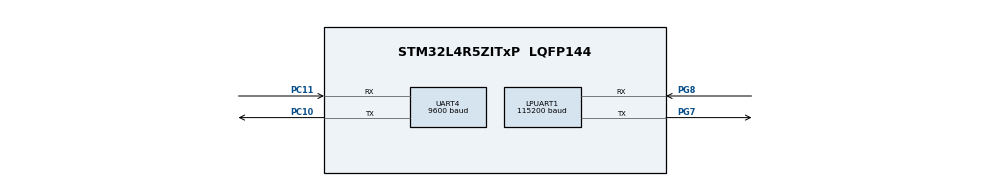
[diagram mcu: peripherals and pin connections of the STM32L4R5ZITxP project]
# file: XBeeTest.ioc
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LPUART1.BaudRate=115200
LPUART1.WordLength=UART_WORDLENGTH_8B
Mcu.Family=STM32L4
Mcu.Name=STM32L4R5ZITxP
Mcu.Package=LQFP144
NVIC.PriorityGroup=NVIC_PRIORITYGROUP_4
NVIC.UART4_IRQn=true\:0\:0\:false\:false\:true\:true\:true\:true
PA0.Signal=S_TIM2_CH1
PA1.Signal=ADCx_IN6
PA10.Signal=USB_OTG_FS_ID
PA13\ (JTMS/SWDIO).Signal=SYS_JTMS-SWDIO
PA14\ (JTCK/SWCLK).Signal=SYS_JTCK-SWCLK
PA3.Signal=ADCx_IN8
PA4.Signal=SPI1_NSS
PA5.Signal=SPI1_SCK
PA6.Signal=SPI1_MISO
PA7.Signal=SPI1_MOSI
PA8.Signal=USB_OTG_FS_SOF
PA9.Signal=USB_OTG_FS_VBUS
PB0.Signal=S_TIM3_CH3
PB1.Signal=ADCx_IN16
PB10.Signal=S_TIM2_CH3
PB12.Signal=SAI2_FS_A
PB13.Signal=SAI2_SCK_A
PB14.Signal=S_TIM15_CH1
PB15.Signal=SAI2_SD_A
PB2.Signal=COMP1_INP
PB3\ (JTDO/TRACESWO).Signal=SPI3_SCK
PB4\ (NJTRST).Signal=SPI3_MISO
PB5.Signal=SPI3_MOSI
PB6.Signal=COMP2_INP
PB8.Signal=I2C1_SCL
PB9.Signal=I2C1_SDA
PC0.Signal=ADCx_IN1
PC1.Signal=ADCx_IN2
PC10.Mode=Asynchronous
PC10.Signal=UART4_TX
PC11.Mode=Asynchronous
PC11.Signal=UART4_RX
PC12.Signal=SDMMC1_CK
PC13.Signal=SYS_WKUP2
PC14-OSC32_IN\ (PC14).Signal=RCC_OSC32_IN
PC15-OSC32_OUT\ (PC15).Signal=RCC_OSC32_OUT
PC2.Signal=ADCx_IN3
PC3.Signal=ADCx_IN4
PC4.Signal=ADCx_IN13
PC5.Signal=ADCx_IN14
PC6.Signal=SAI2_MCLK_A
PC7.Signal=S_TIM3_CH2
PC8.Signal=SDMMC1_D0
PC9.Signal=SDMMC1_D1
PD0.Signal=CAN1_RX
PD14.Signal=S_TIM4_CH3
PD15.Signal=S_TIM4_CH4
PD2.Signal=SDMMC1_CMD
PD3.Signal=USART2_CTS
PD4.Signal=USART2_RTS
PD5.Signal=USART2_TX
PD6.Signal=USART2_RX
PD8.Signal=USART3_TX
PD9.Signal=USART3_RX
PE0.Signal=S_TIM4_ETR
PE10.Signal=TIM1_CH2N
PE11.Signal=S_TIM1_CH2
PE12.Signal=TIM1_CH3N
PE13.Signal=S_TIM1_CH3
PE14.Signal=TIM1_BKIN2
PE15.Signal=TIM1_BKIN
PE2.Signal=SAI1_MCLK_A
PE3.Signal=SAI1_SD_B
PE7.Signal=S_TIM1_ETR
PE8.Signal=TIM1_CH1N
PE9.Signal=S_TIM1_CH1
PF0.Signal=I2C2_SDA
PF1.Signal=I2C2_SCL
PF2.Signal=I2C2_SMBA
PF7.Signal=SAI1_MCLK_B
PG7.Mode=Asynchronous
PG7.Signal=LPUART1_TX
PG8.Mode=Asynchronous
PG8.Signal=LPUART1_RX
PH0-OSC_IN\ (PH0).Signal=RCC_OSC_IN
PH1-OSC_OUT\ (PH1).Signal=RCC_OSC_OUT
ProjectManager.HeapSize=0x200
ProjectManager.StackSize=0x400
ProjectManager.TargetToolchain=STM32CubeIDE
RCC.HSE_VALUE=8000000
RCC.HSI48_VALUE=48000000
RCC.HSI_VALUE=16000000
RCC.LSE_VALUE=32768
RCC.MSI_VALUE=4000000
RCC.VCOOutputFreq_Value=32000000
SH.ADCx_IN1.0=ADC1_IN1
SH.ADCx_IN13.0=ADC1_IN13
SH.ADCx_IN14.0=ADC1_IN14
SH.ADCx_IN16.0=ADC1_IN16
SH.ADCx_IN2.0=ADC1_IN2
SH.ADCx_IN3.0=ADC1_IN3
SH.ADCx_IN4.0=ADC1_IN4
SH.ADCx_IN6.0=ADC1_IN6
SH.ADCx_IN8.0=ADC1_IN8
SH.S_TIM15_CH1.0=TIM15_CH1
SH.S_TIM1_CH1.0=TIM1_CH1
SH.S_TIM1_CH2.0=TIM1_CH2
SH.S_TIM1_CH3.0=TIM1_CH3
SH.S_TIM1_ETR.0=TIM1_ETR
SH.S_TIM2_CH1.0=TIM2_CH1
SH.S_TIM2_CH3.0=TIM2_CH3
SH.S_TIM3_CH2.0=TIM3_CH2
SH.S_TIM3_CH3.0=TIM3_CH3
SH.S_TIM4_CH3.0=TIM4_CH3
SH.S_TIM4_CH4.0=TIM4_CH4
SH.S_TIM4_ETR.0=TIM4_ETR
UART4.BaudRate=9600
board=NUCLEO-L4R5ZI-P

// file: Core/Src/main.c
/* USER CODE BEGIN Header */
/**
  ******************************************************************************
  * @file           : main.c
  * @brief          : Main program body
  ******************************************************************************
  * @attention
  *
  * Copyright (c) 2023 STMicroelectronics.
  * All rights reserved.
  *
  * This software is licensed under terms that can be found in the LICENSE file
  * in the root directory of this software component.
  * If no LICENSE file comes with this software, it is provided AS-IS.
  *
  ******************************************************************************
  */
/* USER CODE END Header */
#include "main.h"

/* USER CODE BEGIN Includes */
#include "stdio.h"
#include "TADAMHESPEVDataTemplate.h"
/* USER CODE END Includes */

UART_HandleTypeDef hlpuart1;
UART_HandleTypeDef huart4;

void SystemClock_Config(void);
static void MX_GPIO_Init(void);
static void MX_UART4_Init(void);
static void MX_LPUART1_UART_Init(void);

/* USER CODE BEGIN 0 */
uint8_t Rx_data[15];
//int index = 0;
/* USER CODE END 0 */

int main(void)
{

  /* MCU Configuration--------------------------------------------------------*/

  /* Reset of all peripherals, Initializes the Flash interface and the Systick. */
  HAL_Init();

  /* Configure the system clock */
  SystemClock_Config();

  /* Initialize all configured peripherals */
  MX_GPIO_Init();
  MX_UART4_Init();
  MX_LPUART1_UART_Init();
  /* USER CODE BEGIN 2 */
  printf("setting up recieve\n");
  HAL_UART_Receive_IT(&huart4, Rx_data, 4);
  //HAL_UART_Receive_IT(&huart4, Rx_data+(index++ % 15), 1);
  int index = 0;
  /* USER CODE END 2 */

  /* Infinite loop */
  /* USER CODE BEGIN WHILE */
  while (1)
  {
//	  uint8_t Test[] = "Hello World !!!\r\n"; //Data to send
//	  //printf("sending message\n");
//	  HAL_UART_Transmit(&huart4,Test,sizeof(Test),10);// Sending in normal mode
//	  /*HAL_UART_Receive(&huart4, Rx_data, sizeof(Rx_data), 10);*/
//	  printf("data buffer: ");
//	  for(int i = 0; i < 15; ++i){
//	    			printf("%d ", Rx_data[i]);
//	    			//Rx_data[i] = 0; //reset for debug
//	    		}
//	   printf("\n");
	  float buff[3][5] = {
	  	  			{ 2.5, 52.7897, 6.12314, 46.352542, 6.0 }, //no warning
				{ 1, 65.7897, 43.7897, 45.1232, 5 }, //BOTH
				{ 2.5, 43.7897, 6.12314, 51.241, 6.0 } //temp warning
		};
		//HAL_Delay();
		//HAL_UART_Transmit(&huart4, (uint8_t*) &(buff[++index%3]), 20, 100);
	  HAL_UART_Transmit(&huart4, (uint8_t*) &(buff[0]), 20, 100);

	  HAL_Delay(1000);
    /* USER CODE END WHILE */

  }
}

void SystemClock_Config(void)
{
  RCC_OscInitTypeDef RCC_OscInitStruct = {0};
  RCC_ClkInitTypeDef RCC_ClkInitStruct = {0};

  /** Configure the main internal regulator output voltage
  */
  if (HAL_PWREx_ControlVoltageScaling(PWR_REGULATOR_VOLTAGE_SCALE1) != HAL_OK)
  {
    Error_Handler();
  }

  /** Initializes the RCC Oscillators according to the specified parameters
  * in the RCC_OscInitTypeDef structure.
  */
  RCC_OscInitStruct.OscillatorType = RCC_OSCILLATORTYPE_MSI;
  RCC_OscInitStruct.MSIState = RCC_MSI_ON;
  RCC_OscInitStruct.MSICalibrationValue = 0;
  RCC_OscInitStruct.MSIClockRange = RCC_MSIRANGE_6;
  RCC_OscInitStruct.PLL.PLLState = RCC_PLL_NONE;
  if (HAL_RCC_OscConfig(&RCC_OscInitStruct) != HAL_OK)
  {
    Error_Handler();
  }

  /** Initializes the CPU, AHB and APB buses clocks
  */
  RCC_ClkInitStruct.ClockType = RCC_CLOCKTYPE_HCLK|RCC_CLOCKTYPE_SYSCLK
                              |RCC_CLOCKTYPE_PCLK1|RCC_CLOCKTYPE_PCLK2;
  RCC_ClkInitStruct.SYSCLKSource = RCC_SYSCLKSOURCE_MSI;
  RCC_ClkInitStruct.AHBCLKDivider = RCC_SYSCLK_DIV1;
  RCC_ClkInitStruct.APB1CLKDivider = RCC_HCLK_DIV1;
  RCC_ClkInitStruct.APB2CLKDivider = RCC_HCLK_DIV1;

  if (HAL_RCC_ClockConfig(&RCC_ClkInitStruct, FLASH_LATENCY_0) != HAL_OK)
  {
    Error_Handler();
  }
}

static void MX_LPUART1_UART_Init(void)
{

  hlpuart1.Instance = LPUART1;
  hlpuart1.Init.BaudRate = 115200;
  hlpuart1.Init.WordLength = UART_WORDLENGTH_8B;
  hlpuart1.Init.StopBits = UART_STOPBITS_1;
  hlpuart1.Init.Parity = UART_PARITY_NONE;
  hlpuart1.Init.Mode = UART_MODE_TX_RX;
  hlpuart1.Init.HwFlowCtl = UART_HWCONTROL_NONE;
  hlpuart1.Init.OneBitSampling = UART_ONE_BIT_SAMPLE_DISABLE;
  hlpuart1.Init.ClockPrescaler = UART_PRESCALER_DIV1;
  hlpuart1.AdvancedInit.AdvFeatureInit = UART_ADVFEATURE_NO_INIT;
  hlpuart1.FifoMode = UART_FIFOMODE_DISABLE;
  if (HAL_UART_Init(&hlpuart1) != HAL_OK)
  {
    Error_Handler();
  }
  if (HAL_UARTEx_SetTxFifoThreshold(&hlpuart1, UART_TXFIFO_THRESHOLD_1_8) != HAL_OK)
  {
    Error_Handler();
  }
  if (HAL_UARTEx_SetRxFifoThreshold(&hlpuart1, UART_RXFIFO_THRESHOLD_1_8) != HAL_OK)
  {
    Error_Handler();
  }
  if (HAL_UARTEx_DisableFifoMode(&hlpuart1) != HAL_OK)
  {
    Error_Handler();
  }

}

static void MX_UART4_Init(void)
{

  huart4.Instance = UART4;
  huart4.Init.BaudRate = 9600;
  huart4.Init.WordLength = UART_WORDLENGTH_8B;
  huart4.Init.StopBits = UART_STOPBITS_1;
  huart4.Init.Parity = UART_PARITY_NONE;
  huart4.Init.Mode = UART_MODE_TX_RX;
  huart4.Init.HwFlowCtl = UART_HWCONTROL_NONE;
  huart4.Init.OverSampling = UART_OVERSAMPLING_16;
  huart4.Init.OneBitSampling = UART_ONE_BIT_SAMPLE_DISABLE;
  huart4.Init.ClockPrescaler = UART_PRESCALER_DIV1;
  huart4.AdvancedInit.AdvFeatureInit = UART_ADVFEATURE_NO_INIT;
  if (HAL_UART_Init(&huart4) != HAL_OK)
  {
    Error_Handler();
  }
  if (HAL_UARTEx_SetTxFifoThreshold(&huart4, UART_TXFIFO_THRESHOLD_1_8) != HAL_OK)
  {
    Error_Handler();
  }
  if (HAL_UARTEx_SetRxFifoThreshold(&huart4, UART_RXFIFO_THRESHOLD_1_8) != HAL_OK)
  {
    Error_Handler();
  }
  if (HAL_UARTEx_DisableFifoMode(&huart4) != HAL_OK)
  {
    Error_Handler();
  }

}

static void MX_GPIO_Init(void)
{
  GPIO_InitTypeDef GPIO_InitStruct = {0};

  /* GPIO Ports Clock Enable */
  __HAL_RCC_GPIOE_CLK_ENABLE();
  __HAL_RCC_GPIOC_CLK_ENABLE();
  __HAL_RCC_GPIOF_CLK_ENABLE();
  __HAL_RCC_GPIOH_CLK_ENABLE();
  __HAL_RCC_GPIOA_CLK_ENABLE();
  __HAL_RCC_GPIOB_CLK_ENABLE();
  __HAL_RCC_GPIOD_CLK_ENABLE();
  __HAL_RCC_GPIOG_CLK_ENABLE();
  HAL_PWREx_EnableVddIO2();

  /*Configure GPIO pins : PE2 PE3 */
  GPIO_InitStruct.Pin = GPIO_PIN_2|GPIO_PIN_3;
  GPIO_InitStruct.Mode = GPIO_MODE_AF_PP;
  GPIO_InitStruct.Pull = GPIO_NOPULL;
  GPIO_InitStruct.Speed = GPIO_SPEED_FREQ_LOW;
  GPIO_InitStruct.Alternate = GPIO_AF13_SAI1;
  HAL_GPIO_Init(GPIOE, &GPIO_InitStruct);

  /*Configure GPIO pins : PF0 PF1 PF2 */
  GPIO_InitStruct.Pin = GPIO_PIN_0|GPIO_PIN_1|GPIO_PIN_2;
  GPIO_InitStruct.Mode = GPIO_MODE_AF_OD;
  GPIO_InitStruct.Pull = GPIO_NOPULL;
  GPIO_InitStruct.Speed = GPIO_SPEED_FREQ_VERY_HIGH;
  GPIO_InitStruct.Alternate = GPIO_AF4_I2C2;
  HAL_GPIO_Init(GPIOF, &GPIO_InitStruct);

  /*Configure GPIO pin : PF7 */
  GPIO_InitStruct.Pin = GPIO_PIN_7;
  GPIO_InitStruct.Mode = GPIO_MODE_AF_PP;
  GPIO_InitStruct.Pull = GPIO_NOPULL;
  GPIO_InitStruct.Speed = GPIO_SPEED_FREQ_LOW;
  GPIO_InitStruct.Alternate = GPIO_AF13_SAI1;
  HAL_GPIO_Init(GPIOF, &GPIO_InitStruct);

  /*Configure GPIO pins : PC0 PC1 PC2 PC3
                           PC4 PC5 */
  GPIO_InitStruct.Pin = GPIO_PIN_0|GPIO_PIN_1|GPIO_PIN_2|GPIO_PIN_3
                          |GPIO_PIN_4|GPIO_PIN_5;
  GPIO_InitStruct.Mode = GPIO_MODE_ANALOG_ADC_CONTROL;
  GPIO_InitStruct.Pull = GPIO_NOPULL;
  HAL_GPIO_Init(GPIOC, &GPIO_InitStruct);

  /*Configure GPIO pin : PA0 */
  GPIO_InitStruct.Pin = GPIO_PIN_0;
  GPIO_InitStruct.Mode = GPIO_MODE_AF_PP;
  GPIO_InitStruct.Pull = GPIO_NOPULL;
  GPIO_InitStruct.Speed = GPIO_SPEED_FREQ_LOW;
  GPIO_InitStruct.Alternate = GPIO_AF1_TIM2;
  HAL_GPIO_Init(GPIOA, &GPIO_InitStruct);

  /*Configure GPIO pins : PA1 PA3 */
  GPIO_InitStruct.Pin = GPIO_PIN_1|GPIO_PIN_3;
  GPIO_InitStruct.Mode = GPIO_MODE_ANALOG_ADC_CONTROL;
  GPIO_InitStruct.Pull = GPIO_NOPULL;
  HAL_GPIO_Init(GPIOA, &GPIO_InitStruct);

  /*Configure GPIO pins : PA4 PA5 PA6 PA7 */
  GPIO_InitStruct.Pin = GPIO_PIN_4|GPIO_PIN_5|GPIO_PIN_6|GPIO_PIN_7;
  GPIO_InitStruct.Mode = GPIO_MODE_AF_PP;
  GPIO_InitStruct.Pull = GPIO_NOPULL;
  GPIO_InitStruct.Speed = GPIO_SPEED_FREQ_VERY_HIGH;
  GPIO_InitStruct.Alternate = GPIO_AF5_SPI1;
  HAL_GPIO_Init(GPIOA, &GPIO_InitStruct);

  /*Configure GPIO pin : PB0 */
  GPIO_InitStruct.Pin = GPIO_PIN_0;
  GPIO_InitStruct.Mode = GPIO_MODE_AF_PP;
  GPIO_InitStruct.Pull = GPIO_NOPULL;
  GPIO_InitStruct.Speed = GPIO_SPEED_FREQ_LOW;
  GPIO_InitStruct.Alternate = GPIO_AF2_TIM3;
  HAL_GPIO_Init(GPIOB, &GPIO_InitStruct);

  /*Configure GPIO pin : PB1 */
  GPIO_InitStruct.Pin = GPIO_PIN_1;
  GPIO_InitStruct.Mode = GPIO_MODE_ANALOG_ADC_CONTROL;
  GPIO_InitStruct.Pull = GPIO_NOPULL;
  HAL_GPIO_Init(GPIOB, &GPIO_InitStruct);

  /*Configure GPIO pins : PB2 PB6 */
  GPIO_InitStruct.Pin = GPIO_PIN_2|GPIO_PIN_6;
  GPIO_InitStruct.Mode = GPIO_MODE_ANALOG;
  GPIO_InitStruct.Pull = GPIO_NOPULL;
  HAL_GPIO_Init(GPIOB, &GPIO_InitStruct);

  /*Configure GPIO pins : PE7 PE8 PE9 PE10
                           PE11 PE12 PE13 */
  GPIO_InitStruct.Pin = GPIO_PIN_7|GPIO_PIN_8|GPIO_PIN_9|GPIO_PIN_10
                          |GPIO_PIN_11|GPIO_PIN_12|GPIO_PIN_13;
  GPIO_InitStruct.Mode = GPIO_MODE_AF_PP;
  GPIO_InitStruct.Pull = GPIO_NOPULL;
  GPIO_InitStruct.Speed = GPIO_SPEED_FREQ_LOW;
  GPIO_InitStruct.Alternate = GPIO_AF1_TIM1;
  HAL_GPIO_Init(GPIOE, &GPIO_InitStruct);

  /*Configure GPIO pins : PE14 PE15 */
  GPIO_InitStruct.Pin = GPIO_PIN_14|GPIO_PIN_15;
  GPIO_InitStruct.Mode = GPIO_MODE_AF_PP;
  GPIO_InitStruct.Pull = GPIO_NOPULL;
  GPIO_InitStruct.Speed = GPIO_SPEED_FREQ_LOW;
  GPIO_InitStruct.Alternate = GPIO_AF3_TIM1_COMP1;
  HAL_GPIO_Init(GPIOE, &GPIO_InitStruct);

  /*Configure GPIO pin : PB10 */
  GPIO_InitStruct.Pin = GPIO_PIN_10;
  GPIO_InitStruct.Mode = GPIO_MODE_AF_PP;
  GPIO_InitStruct.Pull = GPIO_NOPULL;
  GPIO_InitStruct.Speed = GPIO_SPEED_FREQ_LOW;
  GPIO_InitStruct.Alternate = GPIO_AF1_TIM2;
  HAL_GPIO_Init(GPIOB, &GPIO_InitStruct);

  /*Configure GPIO pins : PB12 PB13 PB15 */
  GPIO_InitStruct.Pin = GPIO_PIN_12|GPIO_PIN_13|GPIO_PIN_15;
  GPIO_InitStruct.Mode = GPIO_MODE_AF_PP;
  GPIO_InitStruct.Pull = GPIO_NOPULL;
  GPIO_InitStruct.Speed = GPIO_SPEED_FREQ_LOW;
  GPIO_InitStruct.Alternate = GPIO_AF13_SAI2;
  HAL_GPIO_Init(GPIOB, &GPIO_InitStruct);

  /*Configure GPIO pin : PB14 */
  GPIO_InitStruct.Pin = GPIO_PIN_14;
  GPIO_InitStruct.Mode = GPIO_MODE_AF_PP;
  GPIO_InitStruct.Pull = GPIO_NOPULL;
  GPIO_InitStruct.Speed = GPIO_SPEED_FREQ_LOW;
  GPIO_InitStruct.Alternate = GPIO_AF14_TIM15;
  HAL_GPIO_Init(GPIOB, &GPIO_InitStruct);

  /*Configure GPIO pins : PD8 PD9 */
  GPIO_InitStruct.Pin = GPIO_PIN_8|GPIO_PIN_9;
  GPIO_InitStruct.Mode = GPIO_MODE_AF_PP;
  GPIO_InitStruct.Pull = GPIO_NOPULL;
  GPIO_InitStruct.Speed = GPIO_SPEED_FREQ_VERY_HIGH;
  GPIO_InitStruct.Alternate = GPIO_AF7_USART3;
  HAL_GPIO_Init(GPIOD, &GPIO_InitStruct);

  /*Configure GPIO pins : PD14 PD15 */
  GPIO_InitStruct.Pin = GPIO_PIN_14|GPIO_PIN_15;
  GPIO_InitStruct.Mode = GPIO_MODE_AF_PP;
  GPIO_InitStruct.Pull = GPIO_NOPULL;
  GPIO_InitStruct.Speed = GPIO_SPEED_FREQ_LOW;
  GPIO_InitStruct.Alternate = GPIO_AF2_TIM4;
  HAL_GPIO_Init(GPIOD, &GPIO_InitStruct);

  /*Configure GPIO pin : PC6 */
  GPIO_InitStruct.Pin = GPIO_PIN_6;
  GPIO_InitStruct.Mode = GPIO_MODE_AF_PP;
  GPIO_InitStruct.Pull = GPIO_NOPULL;
  GPIO_InitStruct.Speed = GPIO_SPEED_FREQ_LOW;
  GPIO_InitStruct.Alternate = GPIO_AF13_SAI2;
  HAL_GPIO_Init(GPIOC, &GPIO_InitStruct);

  /*Configure GPIO pin : PC7 */
  GPIO_InitStruct.Pin = GPIO_PIN_7;
  GPIO_InitStruct.Mode = GPIO_MODE_AF_PP;
  GPIO_InitStruct.Pull = GPIO_NOPULL;
  GPIO_InitStruct.Speed = GPIO_SPEED_FREQ_LOW;
  GPIO_InitStruct.Alternate = GPIO_AF2_TIM3;
  HAL_GPIO_Init(GPIOC, &GPIO_InitStruct);

  /*Configure GPIO pins : PC8 PC9 PC12 */
  GPIO_InitStruct.Pin = GPIO_PIN_8|GPIO_PIN_9|GPIO_PIN_12;
  GPIO_InitStruct.Mode = GPIO_MODE_AF_PP;
  GPIO_InitStruct.Pull = GPIO_NOPULL;
  GPIO_InitStruct.Speed = GPIO_SPEED_FREQ_VERY_HIGH;
  GPIO_InitStruct.Alternate = GPIO_AF12_SDMMC1;
  HAL_GPIO_Init(GPIOC, &GPIO_InitStruct);

  /*Configure GPIO pins : PA8 PA10 */
  GPIO_InitStruct.Pin = GPIO_PIN_8|GPIO_PIN_10;
  GPIO_InitStruct.Mode = GPIO_MODE_AF_PP;
  GPIO_InitStruct.Pull = GPIO_NOPULL;
  GPIO_InitStruct.Speed = GPIO_SPEED_FREQ_VERY_HIGH;
  GPIO_InitStruct.Alternate = GPIO_AF10_OTG_FS;
  HAL_GPIO_Init(GPIOA, &GPIO_InitStruct);

  /*Configure GPIO pin : PA9 */
  GPIO_InitStruct.Pin = GPIO_PIN_9;
  GPIO_InitStruct.Mode = GPIO_MODE_INPUT;
  GPIO_InitStruct.Pull = GPIO_NOPULL;
  HAL_GPIO_Init(GPIOA, &GPIO_InitStruct);

  /*Configure GPIO pin : PD0 */
  GPIO_InitStruct.Pin = GPIO_PIN_0;
  GPIO_InitStruct.Mode = GPIO_MODE_AF_PP;
  GPIO_InitStruct.Pull = GPIO_NOPULL;
  GPIO_InitStruct.Speed = GPIO_SPEED_FREQ_VERY_HIGH;
  GPIO_InitStruct.Alternate = GPIO_AF9_CAN1;
  HAL_GPIO_Init(GPIOD, &GPIO_InitStruct);

  /*Configure GPIO pin : PD2 */
  GPIO_InitStruct.Pin = GPIO_PIN_2;
  GPIO_InitStruct.Mode = GPIO_MODE_AF_PP;
  GPIO_InitStruct.Pull = GPIO_NOPULL;
  GPIO_InitStruct.Speed = GPIO_SPEED_FREQ_VERY_HIGH;
  GPIO_InitStruct.Alternate = GPIO_AF12_SDMMC1;
  HAL_GPIO_Init(GPIOD, &GPIO_InitStruct);

  /*Configure GPIO pins : PD3 PD4 PD5 PD6 */
  GPIO_InitStruct.Pin = GPIO_PIN_3|GPIO_PIN_4|GPIO_PIN_5|GPIO_PIN_6;
  GPIO_InitStruct.Mode = GPIO_MODE_AF_PP;
  GPIO_InitStruct.Pull = GPIO_NOPULL;
  GPIO_InitStruct.Speed = GPIO_SPEED_FREQ_VERY_HIGH;
  GPIO_InitStruct.Alternate = GPIO_AF7_USART2;
  HAL_GPIO_Init(GPIOD, &GPIO_InitStruct);

  /*Configure GPIO pins : PB3 PB4 PB5 */
  GPIO_InitStruct.Pin = GPIO_PIN_3|GPIO_PIN_4|GPIO_PIN_5;
  GPIO_InitStruct.Mode = GPIO_MODE_AF_PP;
  GPIO_InitStruct.Pull = GPIO_NOPULL;
  GPIO_InitStruct.Speed = GPIO_SPEED_FREQ_VERY_HIGH;
  GPIO_InitStruct.Alternate = GPIO_AF6_SPI3;
  HAL_GPIO_Init(GPIOB, &GPIO_InitStruct);

  /*Configure GPIO pins : PB8 PB9 */
  GPIO_InitStruct.Pin = GPIO_PIN_8|GPIO_PIN_9;
  GPIO_InitStruct.Mode = GPIO_MODE_AF_OD;
  GPIO_InitStruct.Pull = GPIO_NOPULL;
  GPIO_InitStruct.Speed = GPIO_SPEED_FREQ_VERY_HIGH;
  GPIO_InitStruct.Alternate = GPIO_AF4_I2C1;
  HAL_GPIO_Init(GPIOB, &GPIO_InitStruct);

  /*Configure GPIO pin : PE0 */
  GPIO_InitStruct.Pin = GPIO_PIN_0;
  GPIO_InitStruct.Mode = GPIO_MODE_AF_PP;
  GPIO_InitStruct.Pull = GPIO_NOPULL;
  GPIO_InitStruct.Speed = GPIO_SPEED_FREQ_LOW;
  GPIO_InitStruct.Alternate = GPIO_AF2_TIM4;
  HAL_GPIO_Init(GPIOE, &GPIO_InitStruct);

}

/* USER CODE BEGIN 4 */
#ifdef __GNUC__
#define PUTCHAR_PROTOTYPE int __io_putchar(int ch)
#else
  #define PUTCHAR_PROTOTYPE int fputc(int ch, FILE *f)
#endif /* __GNUC__ */
PUTCHAR_PROTOTYPE
{
  HAL_UART_Transmit(&hlpuart1, (uint8_t *)&ch, 1, 0xFFFF);
  return ch;
}

void HAL_UART_RxCpltCallback(UART_HandleTypeDef *huart)
{
	/*
	printf("RX CALLBACK!!!!\n");
	printf("uart4 handler called\n");
	  	printf("data received: ");
	  		for(int i = 0; i < 15; ++i){
	  			printf("%d ", Rx_data[i]);
	  			Rx_data[i] = 0; //reset for debug
	  		}
	  		printf("\n");*/
	HAL_UART_Receive_IT(&huart4, Rx_data, 4);
	//HAL_UART_Receive_IT(&huart4, Rx_data+(index++ % 15), 1);

}

/* USER CODE END 4 */

void Error_Handler(void)
{
  __disable_irq();
  while (1)
  {
  }
}
